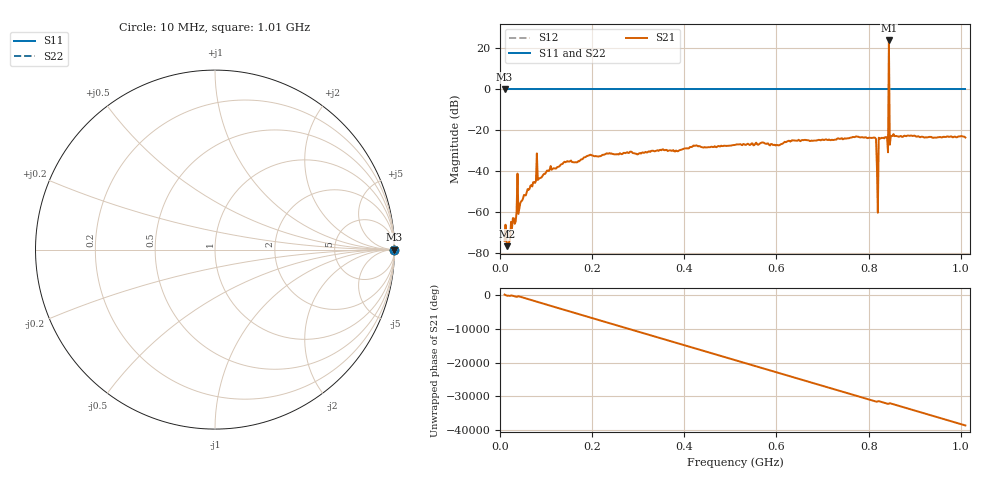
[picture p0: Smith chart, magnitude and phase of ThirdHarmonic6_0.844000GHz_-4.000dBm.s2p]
! 8/16/2025 3:57:29 AM
! C:\ANRITSUVNA\TEMP\TEMP.S2P
! CHANNEL.1
! TR.MEASUREMENT
! RAW.DATA
! RF.CORRECTION.OFF
! AVERAGING.OFF
! IF.BANDWIDTH: 5KHZ
! SWEEPTYPE:  FREQ.SWEEP(Linear)
! Reference Plane Port Info
! PORT:  PORT1  PORT2
! DISTANCE:  0  m  0  m
! TIME:  0  s  0  s
! PHASE.OFFSET:  0  deg.  0  deg.
! LOSS:  0  dB  0  dB
! REF.LOSS:  0  dB  0  dB
! REF.FREQ:  0  Hz  0  Hz
! Power Info
! POWER:  -20  dBm  -20  dBm
! EFF.POWER:  -20  dBm  -20  dBm
! SOURCE.ATTEN:  0  dB  0  dB
! TEST.ATTEN:  0  dB  0  dB
# GHZ S RI R 50.0
! FREQ.GHZ  S11RE  S11IM  S21RE  S21IM  S12RE  S12IM  S22RE  S22IM
!; PortSelection: Port_12
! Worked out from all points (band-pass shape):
!   501 points, 10 MHz to 1.01 GHz, reference 50 ohm
!   highest |S21| = 23.84 dB at 844 MHz (marker M1); lowest = -76.8 dB at 16 MHz (marker M2)
!   |S21| within 3 dB of the highest: 843.8904 MHz to 844.1177 MHz (227.3 kHz wide, 0.0269 % of centre)
!   lowest |S11| = 0.0 dB at 10 MHz (marker M3)
!   |S11| at or under -10 dB: nowhere
!   |S22| runs from 0.0 to 0.0 dB; largest |S21 - S12| = 17
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0.01  1 0  -0.000191 4.12e-05  1 0  1 0
0.016  1 0  -0.000139 3.77e-05  1 0  1 0
0.018  1 0  -0.000139 -8.77e-05  1 0  1 0
0.042  1 0  0.000967 -0.000743  1 0  1 0
0.044  1 0  -0.000706 -0.00147  1 0  1 0
0.074  1 0  0.00048 0.00527  1 0  1 0
0.076  1 0  0.00507 0.000313  1 0  1 0
0.178  1 0  -0.0186 -0.00494  1 0  1 0
0.344  1 0  0.0303 -0.00537  1 0  1 0
0.51  1 0  -0.0413 0.0126  1 0  1 0
0.678  1 0  -0.0192 -0.051  1 0  1 0
0.812  1 0  -0.0199 -0.0624  1 0  1 0
0.816  1 0  -0.00187 0.0605  1 0  1 0
0.82  1 0  -0.000941 0.000106  1 0  1 0
0.824  1 0  -0.0394 0.0471  1 0  1 0
0.826  1 0  0.0376 0.0497  1 0  1 0
0.838  1 0  0.0219 -0.063  1 0  1 0
0.84  1 0  -0.0579 -0.0341  1 0  1 0
0.844  1 0  -15.37 -2.465  1 0  1 0
0.848  1 0  -0.0242 -0.0645  1 0  1 0
0.85  1 0  -0.0703 0.0147  1 0  1 0
1.01  1 0  -0.0604 -0.0253  1 0  1 0
